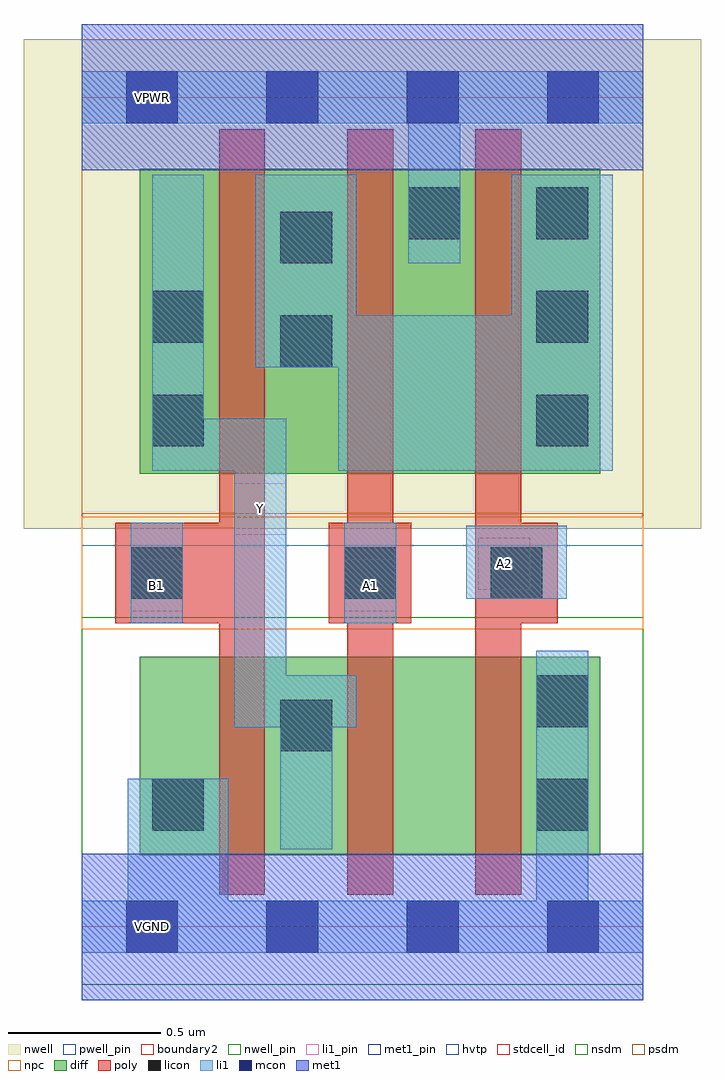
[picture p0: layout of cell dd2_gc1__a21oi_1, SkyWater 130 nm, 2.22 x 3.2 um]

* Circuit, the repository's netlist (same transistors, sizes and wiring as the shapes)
.subckt dd2_gc1__a21oi_1 A1 A2 B1 VGND VNB VPB VPWR Y
X0 Y B1 VGND VNB sky130_fd_pr__nfet_01v8 w=0.65 l=0.15
X1 Y A1 n1 VNB sky130_fd_pr__nfet_01v8 w=0.65 l=0.15
X2 n1 A2 VGND VNB sky130_fd_pr__nfet_01v8 w=0.65 l=0.15
X3 Y B1 p1 VPB sky130_fd_pr__pfet_01v8_hvt w=1 l=0.15
X4 p1 A1 VPWR VPB sky130_fd_pr__pfet_01v8_hvt w=1 l=0.15
X5 p1 A2 VPWR VPB sky130_fd_pr__pfet_01v8_hvt w=1 l=0.15
.ends

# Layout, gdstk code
import gdstk
lib = gdstk.Library(unit=1e-6, precision=1e-09)
def R(c, l, rs):  # rectangles x0, y0, x1, y1
    for r in rs: c.add(gdstk.rectangle(r[:2], r[2:], *l))
def A(c, l, x, y, w, h, nx, ny, dx, dy):  # array of equal rectangles
    R(c, l, [(x+i*dx, y+j*dy, x+i*dx+w, y+j*dy+h) for i in range(nx) for j in range(ny)])
nwell_pin = (64, 16)
nwell = (64, 20)
diff = (65, 20)
poly = (66, 20)
licon = (66, 44)
li1_pin = (67, 16)
li1 = (67, 20)
mcon = (67, 44)
met1_pin = (68, 16)
met1 = (68, 20)
hvtp = (78, 44)
stdcell_id = (81, 4)
nsdm = (93, 44)
psdm = (94, 20)
npc = (95, 20)
pwell_pin = (122, 16)
boundary2 = (236, 0)

dd2_gc1__a21oi_1 = lib.new_cell('dd2_gc1__a21oi_1')
R(dd2_gc1__a21oi_1, nwell_pin, [(0.145,2.635,0.315,2.805)])
R(dd2_gc1__a21oi_1, nwell, [(-0.19,1.305,2.03,2.91)])
R(dd2_gc1__a21oi_1, diff, [(0.19,0.235,1.7,0.885), (0.19,1.485,1.7,2.485)])
A(dd2_gc1__a21oi_1, poly, 0.45, 0.105, 0.15, 2.51, 3, 1, 0.42, 0)
R(dd2_gc1__a21oi_1, poly, [(0.11,0.995,0.6,1.325), (0.81,0.995,1.08,1.325), (1.29,0.995,1.56,1.325)])
A(dd2_gc1__a21oi_1, licon, 1.49, 1.575, 0.17, 0.17, 1, 3, 0, 0.34)
R(dd2_gc1__a21oi_1, licon, [(0.23,0.315,0.4,0.485), (1.49,0.315,1.66,0.485), (0.65,0.575,0.82,0.745), (1.49,0.655,1.66,0.825), (0.16,1.075,0.33,1.245), (0.86,1.075,1.03,1.245), (1.34,1.075,1.51,1.245), (0.23,1.575,0.4,1.745), (0.65,1.835,0.82,2.005), (0.23,1.915,0.4,2.085), (0.65,2.175,0.82,2.345), (1.07,2.255,1.24,2.425)])
R(dd2_gc1__a21oi_1, li1_pin, [(0.16,1.035,0.33,1.205), (0.86,1.035,1.03,1.205), (1.3,1.105,1.47,1.275), (0.5,1.285,0.67,1.455)])
R(dd2_gc1__a21oi_1, li1, [(0,-0.085,1.84,0.085), (0.15,-0.085,0.48,0.485), (1.49,-0.085,1.66,0.905), (0.65,0.255,0.82,0.825), (0.5,0.655,0.9,0.825), (0.5,0.815,0.67,1.505), (0.16,0.995,0.33,1.325), (0.86,0.995,1.03,1.325), (1.26,1.075,1.59,1.315), (0.23,1.495,0.4,2.465), (0.23,1.495,0.67,1.665), (0.84,1.495,1.74,2.005), (1.41,1.495,1.74,2.465), (0.57,1.835,0.9,2.465), (1.07,2.175,1.24,2.805), (0,2.635,1.84,2.805)])
A(dd2_gc1__a21oi_1, mcon, 0.145, -0.085, 0.17, 0.17, 4, 2, 0.46, 2.72)
R(dd2_gc1__a21oi_1, met1_pin, [(0.145,-0.085,0.315,0.085), (0.145,2.635,0.315,2.805)])
R(dd2_gc1__a21oi_1, met1, [(0,-0.24,1.84,0.24), (0,2.48,1.84,2.96)])
R(dd2_gc1__a21oi_1, hvtp, [(0,1.25,1.84,2.72)])
R(dd2_gc1__a21oi_1, stdcell_id, [(0,0,1.84,2.72)])
R(dd2_gc1__a21oi_1, nsdm, [(0,-0.19,1.84,1.015)])
R(dd2_gc1__a21oi_1, psdm, [(0,1.355,1.84,2.91)])
R(dd2_gc1__a21oi_1, npc, [(0,0.975,1.84,1.345)])
R(dd2_gc1__a21oi_1, pwell_pin, [(0.145,-0.085,0.315,0.085)])
R(dd2_gc1__a21oi_1, boundary2, [(0,0,1.84,2.72)])
dd2_gc1__a21oi_1.add(gdstk.Label('B1', (0.245,1.12), layer=67, texttype=5))
dd2_gc1__a21oi_1.add(gdstk.Label('A1', (0.945,1.12), layer=67, texttype=5))
dd2_gc1__a21oi_1.add(gdstk.Label('A2', (1.385,1.19), layer=67, texttype=5))
dd2_gc1__a21oi_1.add(gdstk.Label('Y', (0.585,1.37), layer=67, texttype=5))
dd2_gc1__a21oi_1.add(gdstk.Label('VGND', (0.23,0), layer=68, texttype=5))
dd2_gc1__a21oi_1.add(gdstk.Label('VPWR', (0.23,2.72), layer=68, texttype=5))
dd2_gc1__a21oi_1.add(gdstk.Label('VPB', (0.23,2.72), layer=64, texttype=5))
dd2_gc1__a21oi_1.add(gdstk.Label('VNB', (0.23,0), layer=64, texttype=59))

lib.write_gds('dd2_gc1__a21oi_1.gds')
